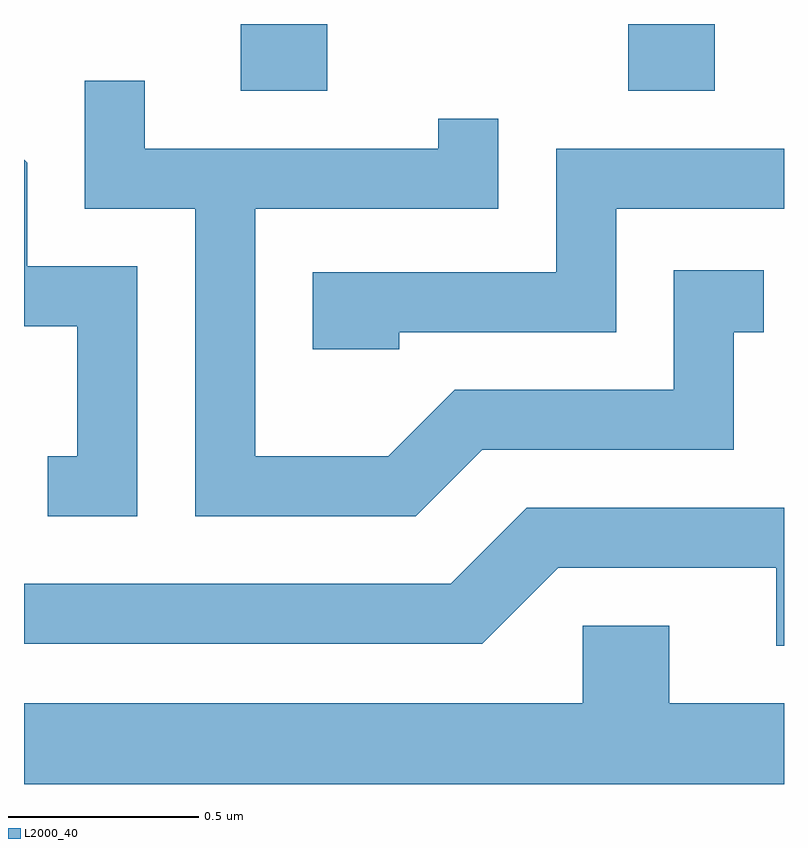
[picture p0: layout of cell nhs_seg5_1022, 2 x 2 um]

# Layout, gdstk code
import gdstk
lib = gdstk.Library(unit=1e-6, precision=1e-09)
def R(c, l, rs):  # rectangles x0, y0, x1, y1
    for r in rs: c.add(gdstk.rectangle(r[:2], r[2:], *l))
def P(c, l, *ps):  # polygons
    for p in ps: c.add(gdstk.Polygon(p, *l))
L2000_40 = (2000, 40)

nhs_seg5_1022 = lib.new_cell('nhs_seg5_1022')
R(nhs_seg5_1022, L2000_40, [(193.181,1460.896,193.409,1461.072), (194.201,1460.896,194.429,1461.072)])
P(nhs_seg5_1022, L2000_40, [(193.817,1459.951),(194.479,1459.951),(194.479,1460.261),(194.558,1460.261),(194.558,1460.424),(194.321,1460.424),(194.321,1460.109),(193.744,1460.109),(193.569,1459.934),(193.219,1459.934),(193.219,1460.586),(193.859,1460.586),(193.859,1460.823),(193.701,1460.823),(193.701,1460.744),(192.929,1460.744),(192.929,1460.923),(192.771,1460.923),(192.771,1460.586),(193.061,1460.586),(193.061,1459.776),(193.642,1459.776)],
  [(193.599,1460.261),(194.169,1460.261),(194.169,1460.586),(194.611,1460.586),(194.611,1460.744),(194.011,1460.744),(194.011,1460.419),(193.371,1460.419),(193.371,1460.216),(193.599,1460.216)],
  [(192.909,1460.434),(192.619,1460.434),(192.619,1460.707),(192.611,1460.715),(192.611,1460.276),(192.751,1460.276),(192.751,1459.934),(192.673,1459.934),(192.673,1459.776),(192.909,1459.776)],
  [(194.611,1459.799),(193.934,1459.799),(193.734,1459.599),(192.611,1459.599),(192.611,1459.441),(193.817,1459.441),(194.017,1459.641),(194.591,1459.641),(194.591,1459.436),(194.611,1459.436)],
  [(194.611,1459.284),(194.309,1459.284),(194.309,1459.489),(194.081,1459.489),(194.081,1459.284),(192.611,1459.284),(192.611,1459.072),(194.611,1459.072)])

lib.write_gds('nhs_seg5_1022.gds')
